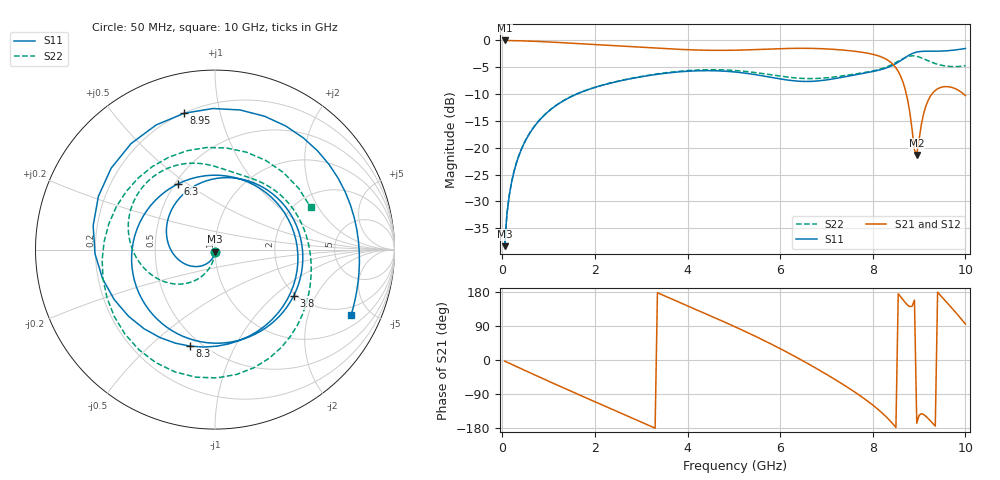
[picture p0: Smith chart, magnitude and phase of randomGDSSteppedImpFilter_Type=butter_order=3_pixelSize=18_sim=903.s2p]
! freq	dB(S11)	phase(S11)	dB(S12)	phase(S12)
!  dB(S21)	phase(S21)	dB(S22)	phase(S22)
!S-par simulation data
#  GHz  S  DB  R 50
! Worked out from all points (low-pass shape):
!   200 points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, 50 MHz to 10 GHz, reference 50 ohm
!   highest |S21| = -0.01 dB at 50 MHz (marker M1); lowest = -21.3 dB at 8.95 GHz (marker M2)
!   |S21| within 3 dB of the highest: start of sweep to 8.165 GHz
!   lowest |S11| = -38.3 dB at 50 MHz (marker M3), VSWR 1.02, Z = 49.9 - j1.21 ohm
!   |S11| at or under -10 dB: start of sweep to 1.608 GHz
!   |S22| runs from -38.3 to -2.9 dB; largest |S21 - S12| = 0
!   S11 on the Smith chart (normalised r, x): 50 MHz: 1.00, -0.02; 3.8 GHz: 1.93, -1.35; 6.3 GHz: 0.52, +0.46; 8.3 GHz: 0.44, -0.68; 8.95 GHz: 0.20, +0.78; 10 GHz: 1.53, -3.82
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0.05  -38.35 -93.4  -0.01 -2.9  -0.01 -2.9  -38.31 -91.2
0.2  -26.43 -105.5  -0.03 -11.4  -0.03 -11.4  -26.40 -97.3
0.5  -18.69 -129.0  -0.10 -28.2  -0.10 -28.2  -18.65 -108.3
1.15  -12.20 -179.4  -0.35 -64.2  -0.35 -64.2  -12.16 -130.3
1.75  -9.50 133.3  -0.64 -96.7  -0.64 -96.7  -9.46 -148.1
2.55  -7.53 68.6  -1.04 -139.7  -1.04 -139.7  -7.48 -169.2
3.4  -6.25 0.4  -1.48 174.9  -1.48 174.9  -6.17 168.7
3.8  -5.87 -30.6  -1.66 153.6  -1.66 153.6  -5.76 157.6
4.45  -5.64 -79.7  -1.84 119.0  -1.84 119.0  -5.46 138.3
5.05  -5.91 -125.7  -1.82 86.3  -1.82 86.3  -5.62 119.5
5.7  -6.72 179.1  -1.63 48.6  -1.63 48.6  -6.27 99.4
6.3  -7.53 119.3  -1.47 10.6  -1.47 10.6  -6.97 82.4
6.7  -7.62 75.7  -1.49 -16.6  -1.49 -16.6  -7.11 71.0
7.6  -6.45 -18.9  -2.01 -83.6  -2.01 -83.6  -6.29 32.0
8.3  -5.11 -104.3  -3.55 -151.2  -3.55 -151.2  -4.94 -20.5
8.35  -4.94 -112.9  -3.83 -157.4  -3.83 -157.4  -4.76 -25.5
8.7  -3.20 168.9  -9.11 151.8  -9.11 151.8  -3.19 -71.5
8.95  -2.17 102.7  -21.35 -167.0  -21.35 -167.0  -2.96 -117.7
9.25  -2.01 43.8  -10.31 -161.2  -10.31 -161.2  -3.99 -174.7
9.6  -1.93 3.4  -8.61 151.9  -8.61 151.9  -4.80 116.4
9.8  -1.76 -12.5  -9.07 124.2  -9.07 124.2  -4.88 72.2
10  -1.50 -25.6  -10.29 95.0  -10.29 95.0  -4.69 23.8
